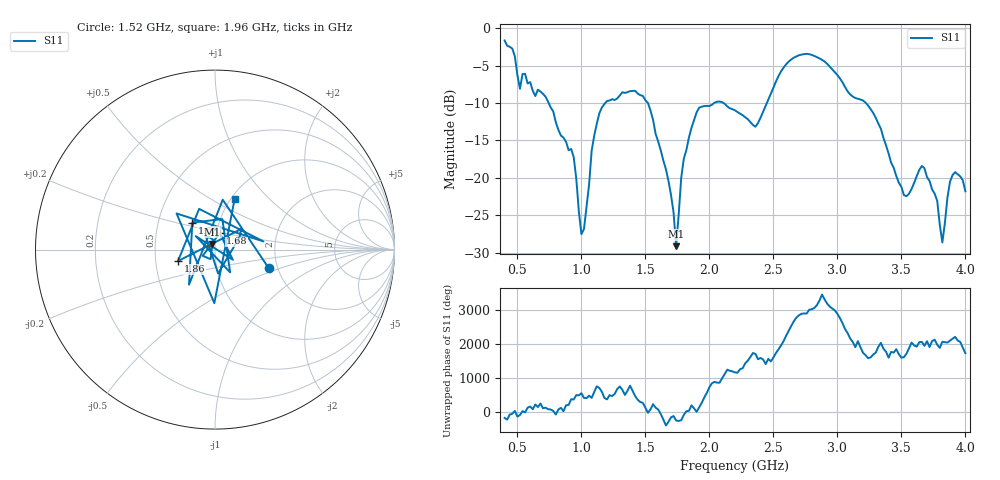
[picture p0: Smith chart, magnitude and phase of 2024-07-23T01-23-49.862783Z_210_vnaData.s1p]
!Created with skrf (http://scikit-rf.org).
# Hz S RI R 50.0
!freq ReS11 ImS11
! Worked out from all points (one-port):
!   181 points, 400 MHz to 4 GHz, reference 50 ohm
!   lowest |S11| = -29.1 dB at 1.74 GHz (marker M1), VSWR 1.07, Z = 48.5 + j3.08 ohm
!   |S11| at or under -10 dB: 744.1 MHz to 1.187 GHz (442.7 MHz wide, 45.9 % of centre); 1.52 GHz to 2.037 GHz (517.4 MHz wide, 29.1 % of centre); 3.223 GHz to end of sweep (the widest 3 of 4)
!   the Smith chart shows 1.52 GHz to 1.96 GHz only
!   S11 on the Smith chart (normalised r, x): 1.52 GHz: 1.79, -0.41; 1.58 GHz: 0.74, +0.23; 1.68 GHz: 1.04, +0.19; 1.86 GHz: 0.65, -0.09; 1.96 GHz: 1.04, +0.64
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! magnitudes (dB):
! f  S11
! 400 MHz  -1.6
! 480 MHz  -3.8
! 520 MHz  -8.1
! 700 MHz  -8.8
! 860 MHz  -14.6
! 940 MHz  -17.3
! 1 GHz  -27.5
! 1.14 GHz  -11.4
! 1.3 GHz  -9.0
! 1.52 GHz  -10.0
! 1.58 GHz  -14.1
! 1.68 GHz  -20.4
! 1.74 GHz  -29.1
! 1.76 GHz  -24.9
! 1.8 GHz  -17.5
! 1.86 GHz  -13.3
! 1.96 GHz  -10.4
! 2.2 GHz  -11.0
! 2.36 GHz  -13.2
! 2.66 GHz  -3.9
! 3.1 GHz  -8.9
! 3.28 GHz  -11.3
! 3.56 GHz  -22.1
! 3.68 GHz  -18.7
! 3.78 GHz  -23.1
! 3.82 GHz  -28.6
! 3.9 GHz  -19.6
! 4 GHz  -21.8
